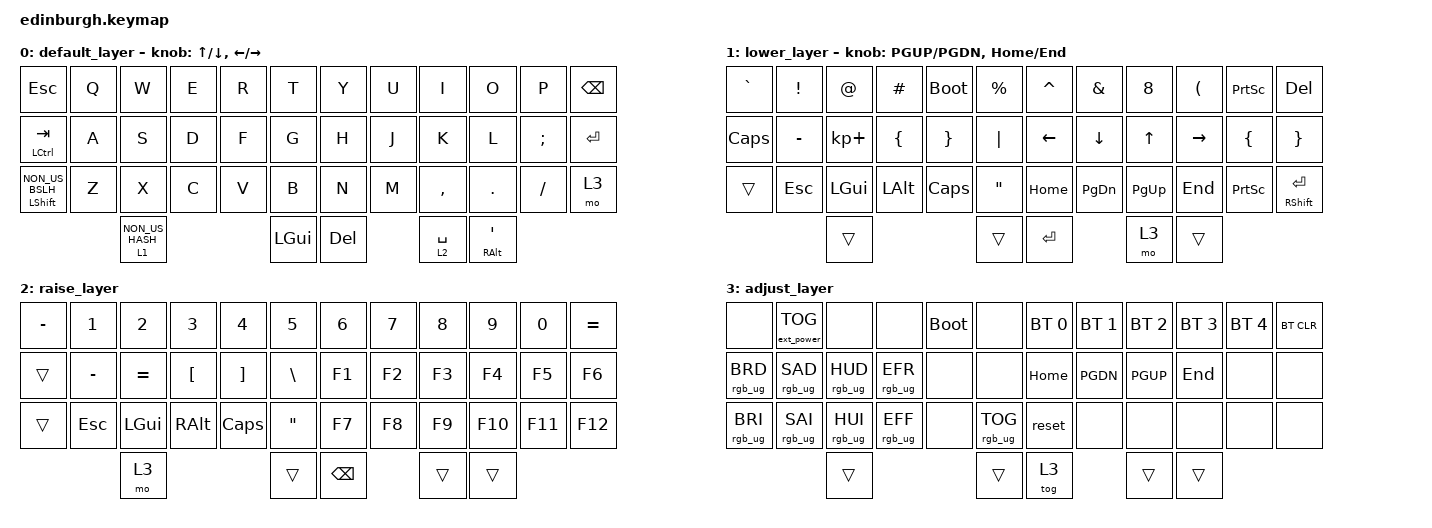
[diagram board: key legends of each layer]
/*
 * Copyright (c) 2020 The ZMK Contributors
 *
 * SPDX-License-Identifier: MIT
 */

#include <behaviors.dtsi>
#include <dt-bindings/zmk/keys.h>
#include <dt-bindings/zmk/bt.h>
#include <dt-bindings/zmk/rgb.h>
#include <dt-bindings/zmk/ext_power.h>

/ {
        keymap {
                compatible = "zmk,keymap";

                default_layer {
// -------------------------------------------------------------------------------------
// |  TAB |  Q  |  W  |  E  |  R  |  T  |   |  Y  |  U   |  I  |  O  |  P  |   BKSP    |
// | CTRL |  A  |  S  |  D  |  F  |  G  |   |  H  |  J   |  K  |  L  |  ;  |    '      |
// | SHFT |  Z  |  X  |  C  |  V  |  B  |   |  N  |  M   |  ,  |  .  |  /  | SHFT(RET) |
//                         | ALT | LWR | SPC | RSE  | ALT |
                        bindings = <
   &kp ESC       &kp Q &kp W &kp E &kp R &kp T   &kp Y &kp U  &kp I     &kp O   &kp P    &kp BSPC
   &mt LCTRL TAB &kp A &kp S &kp D &kp F &kp G   &kp H &kp J  &kp K     &kp L   &kp SEMI &kp RET
   &mt LSHFT NON_US_BSLH &kp Z &kp X &kp C &kp V &kp B   &kp N &kp M  &kp COMMA &kp DOT &kp FSLH &mo 3 
                        &lt 1 NON_US_HASH &kp LGUI  &kp DEL &lt 2 SPACE &mt RALT SQT

                        >;

			sensor-bindings = <&up_down_kp UP DOWN &up_down_kp LEFT RIGHT>;
                };

                lower_layer {
// ----------------------------------------------------------------------------------
// |    |  !  |  @  |  #  |  $  |  %  |   |  ^  |  &  |  *  |  (  |  )  |    DEL    |
// |    |  _  |  +  |  {  |  }  | "|" |   | LFT | DWN |  UP | RGT |  `  |     ~     |
// |    | ESC | GUI | ALT | CAPS|  "  |   | HOME| END | PGUP| PGDN| PRSC| SHFT(RET) |
//                       |     |     | RET | ADJ |     |
                        bindings = <
   &kp GRAVE &kp EXCL  &kp AT      &kp HASH &bootloader &kp PRCNT      &kp CARET &kp AMPS &kp N8    &kp LPAR  &kp PSCRN  &kp DEL
   &kp CLCK &kp MINUS &kp KP_PLUS &kp LBRC &kp RBRC &kp PIPE           &kp LEFT  &kp DOWN &kp UP    &kp RIGHT &kp LBRC &kp RBRC
   &trans &kp ESC   &kp LGUI    &kp LALT &kp CLCK &kp DQT        &kp HOME  &kp PG_DN &kp PG_UP &kp END &kp PSCRN &mt RSHFT RET
                                 &trans      &trans       &kp RET        &mo 3       &trans
                        >;
			sensor-bindings = <&up_down_kp PGUP PGDN &up_down_kp HOME END>;
                };

                raise_layer {
// -----------------------------------------------------------------------------------------
// |    |  1  |  2  |  3  |  4  |  5  |   |  6  |  7  |  8  |  9  |  0  | DEL |
// |    |  -  |  =  |  [  |  ]  |  \  |   | F1  | F2  | F3  | F4  | F5  | F6  |
// |    | ESC | GUI | ALT | CAPS|  "  |   | F7  | F8  | F9  | F10 | F11 | F12 |
//                       |     | ADJ | BKSP |    |     |
                        bindings = <
   &kp MINUS &kp N1    &kp N2    &kp N3    &kp N4    &kp N5        &kp N6    &kp N7    &kp N8    &kp N9    &kp N0    &kp EQUAL
   &trans &kp MINUS &kp EQUAL &kp LBKT  &kp RBKT  &kp BSLH      &kp F1    &kp F2    &kp F3    &kp F4    &kp F5    &kp F6
   &trans &kp ESC   &kp LGUI  &kp RALT  &kp CLCK  &kp DQT       &kp F7    &kp F8    &kp F9    &kp F10   &kp F11   &kp F12
                               &mo 3 &trans             &kp BSPC        &trans      &trans
                        >;
                };

                adjust_layer {
// -----------------------------------------------------------------------------------------
// | RGB BRI+ | RGB SAT+ | RGB HUE+ | RGB ANI+ |    | RGB TOG |   |  BT1  | BT2 | BT3 | BT4 | BT5 | BT CLR |
// | RGB BRI- | RGB SAT- | RGB HUE- | RGB ANI- |    |         |   |       |     |     |     |     |        |
// |          |          |          |          |    |         |   | RESET |     |     |     |     |        |
//                                              |     |     |     |     |     |
                        bindings = <
   &none           &ext_power EP_TOG &none           &none     &bootloader &none              &bt BT_SEL 0 &bt BT_SEL 1 &bt BT_SEL 2 &bt BT_SEL 3 &bt BT_SEL 4 &bt BT_CLR
   &rgb_ug RGB_BRD &rgb_ug RGB_SAD &rgb_ug RGB_HUD   &rgb_ug RGB_EFR &none &none              &kp HOME  &kp PGDN       &kp PGUP        &kp END        &none        &none
   &rgb_ug RGB_BRI &rgb_ug RGB_SAI &rgb_ug RGB_HUI   &rgb_ug RGB_EFF &none &rgb_ug RGB_TOG    &reset       &none        &none        &none        &none        &none
                                                             &trans      &trans       &tog 3        &trans      &trans
                        >;
                };
        };

};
